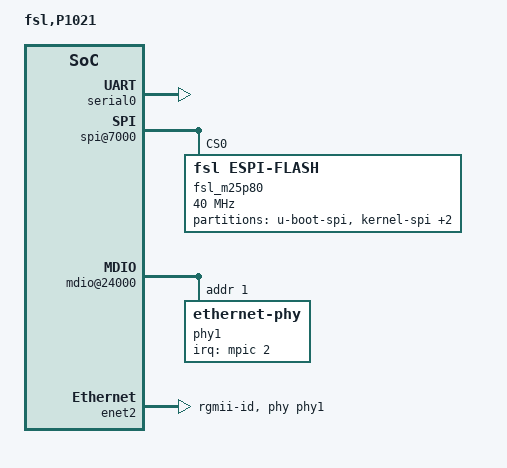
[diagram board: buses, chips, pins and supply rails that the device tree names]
/*
 * P1021 MDS Core1 Device Tree Source in CAMP mode.
 *
 * In CAMP mode, each core needs to have its own dts. Only mpic and L2 cache
 * can be shared, all the other devices must be assigned to one core only.
 * This dts file allows core1 to have l2, uart1, eth2, crypto, and spi.
 *
 * Please note to add "-b 1" for core1's dts compiling.
 *
 * Copyright 2010 Freescale Semiconductor Inc.
 *
 * This program is free software; you can redistribute  it and/or modify it
 * under  the terms of  the GNU General  Public License as published by the
 * Free Software Foundation;  either version 2 of the  License, or (at your
 * option) any later version.
 */

/dts-v1/;
/ {
	model = "fsl,P1021";
	compatible = "fsl,P1021MDS", "fsl,P1021MDS-CAMP";
	#address-cells = <2>;
	#size-cells = <2>;

	aliases {
		serial0 = &serial0;
		ethernet2 = &enet2;
	};

	cpus {
		#address-cells = <1>;
		#size-cells = <0>;

		PowerPC,P1021@1 {
			device_type = "cpu";
			reg = <0x1>;
			next-level-cache = <&L2>;
		};
	};

	memory {
		device_type = "memory";
	};

	soc@ffe00000 {

		#address-cells = <1>;
		#size-cells = <1>;
		device_type = "soc";
		compatible = "fsl,p1021-immr", "simple-bus";
		ranges = <0x0  0x0 0xffe00000 0x100000>;
		bus-frequency = <0>;		// Filled out by uboot.

		serial0: serial@4600 {
			cell-index = <1>;
			device_type = "serial";
			compatible = "ns16550";
			reg = <0x4600 0x100>;
			clock-frequency = <0>;
		};

		spi@7000 {
			cell-index = <0>;
			#address-cells = <1>;
			#size-cells = <0>;
			compatible = "fsl,espi";
			reg = <0x7000 0x1000>;
			interrupts = <59 0x2>;
			interrupt-parent = <&mpic>;
			espi,num-ss-bits = <4>;
			mode = "cpu";

			fsl_m25p80@0 {
				#address-cells = <1>;
				#size-cells = <1>;
				compatible = "fsl,espi-flash";
				reg = <0>;
				linux,modalias = "fsl_m25p80";
				spi-max-frequency = <40000000>; /* input clock */
				partition@u-boot {
					label = "u-boot-spi";
					reg = <0x00000000 0x00100000>;
					read-only;
				};
				partition@kernel {
					label = "kernel-spi";
					reg = <0x00100000 0x00500000>;
					read-only;
				};
				partition@dtb {
					label = "dtb-spi";
					reg = <0x00600000 0x00100000>;
					read-only;
				};
				partition@fs {
					label = "file system-spi";
					reg = <0x00700000 0x00900000>;
				};
			};
		};

		L2: l2-cache-controller@20000 {
			compatible = "fsl,p1021-l2-cache-controller";
			reg = <0x20000 0x1000>;
			cache-line-size = <32>;	// 32 bytes
			cache-size = <0x40000>; // L2,256K
			interrupt-parent = <&mpic>;
			interrupts = <16 2>;
		};

		mdio@24000 {
			#address-cells = <1>;
			#size-cells = <0>;
			compatible = "fsl,etsec2-mdio";
			reg = <0x24000 0x1000 0xb0030 0x4>;

			phy1: ethernet-phy@1 {
				interrupt-parent = <&mpic>;
				interrupts = <2 1>;
				reg = <0x1>;
			};
		};

		enet2: ethernet@B2000 {
			#address-cells = <1>;
			#size-cells = <1>;
			cell-index = <0>;
			device_type = "network";
			model = "eTSEC";
			compatible = "fsl,etsec2";
			fsl,num_rx_queues = <0x8>;
			fsl,num_tx_queues = <0x8>;
			local-mac-address = [ 00 00 00 00 00 00 ];
			interrupt-parent = <&mpic>;
			phy-handle = <&phy1>;
			phy-connection-type = "rgmii-id";
			queue-group@0{
				#address-cells = <1>;
				#size-cells = <1>;
				reg = <0xB2000 0x1000>;
				interrupts = <31 2 32 2 33 2>;
			};
			queue-group@1{
				#address-cells = <1>;
				#size-cells = <1>;
				reg = <0xB6000 0x1000>;
				interrupts = <25 2 26 2 27 2>;
			};
		};

		crypto@30000 {
			compatible = "fsl,sec3.3", "fsl,sec3.1",
				     "fsl,sec3.0", "fsl,sec2.4",
				     "fsl,sec2.2", "fsl,sec2.1", "fsl,sec2.0";
			reg = <0x30000 0x10000>;
			interrupts = <45 2 58 2>;
			interrupt-parent = <&mpic>;
			fsl,num-channels = <4>;
			fsl,channel-fifo-len = <24>;
			fsl,exec-units-mask = <0x97c>;
			fsl,descriptor-types-mask = <0x3a30abf>;
			fsl,multi-host-mode = "primary";
			fsl,channel-remap = <0x3>;
		};

		mpic: pic@40000 {
			interrupt-controller;
			#address-cells = <0>;
			#interrupt-cells = <2>;
			reg = <0x40000 0x40000>;
			compatible = "chrp,open-pic";
			device_type = "open-pic";
			protected-sources = <
			16 19 42 58 	/* MEM L2 elbc serial crypto*/
			17 18 24 29 30 34	/*eth0*/
			35 36 40 51 56 67 	/*eth1*/
			20 21 22 23	/* dma */
			43 28 72	/* i2c usb esdhc */
			47 60 63	/* gpio qe */
			0xe0 0xe1 0xe2 0xe3     /* msi */
			0xe4 0xe5 0xe6 0xe7     /* msi */
			>;
		};

	};
};
